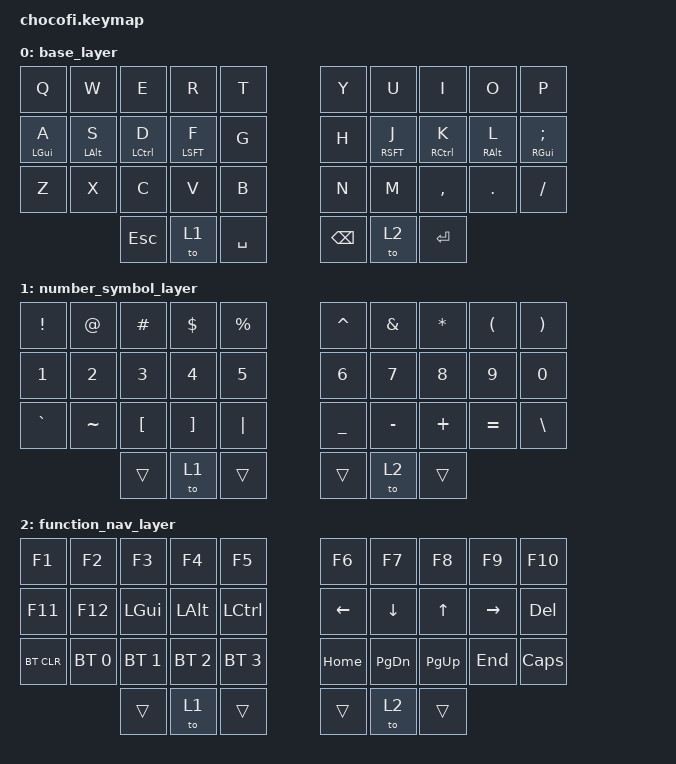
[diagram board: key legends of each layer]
/*
 * Copyright (c) 2025 Your Name
 * SPDX-License-Identifier: MIT
 *
 * Base keymap for Chocofi (3x5 + 3 thumb keys)
 * Layers:
 * - 0: QWERTY Base w/ Mac Home Row Mods
 * - 1: Numbers & Symbols
 * - 2: Function Keys & Navigation
 */

#include <behaviors.dtsi>
#include <dt-bindings/zmk/keys.h>
#include <dt-bindings/zmk/bt.h>        // Include Bluetooth keycodes
#include <dt-bindings/zmk/outputs.h>   // Include Output keycodes
#include <dt-bindings/zmk/modifiers.h> // Include modifiers like LCTL, LGUI (Cmd for Mac)

// Define tapping term for home row mods (milliseconds)
// This value is used if not overridden by the behavior definition itself
// or the global Kconfig setting. We'll use the behavior definition primarily.
#define TAPPING_TERM 200

/ {
    behaviors {
        // Define Home Row Mods Left Hand (Mac Order: Cmd, Opt, Ctrl, Shift)
        // Using 'tap-preferred' flavor and quick-tap-ms for better feel with home row mods.
        hm_l_a: hml_a { compatible = "zmk,behavior-hold-tap"; label = "HML_A"; #binding-cells = <2>; tapping-term-ms = <TAPPING_TERM>; flavor = "tap-preferred"; bindings = <&kp>, <&kp>; quick-tap-ms = <TAPPING_TERM>; };
        hm_l_s: hml_s { compatible = "zmk,behavior-hold-tap"; label = "HML_S"; #binding-cells = <2>; tapping-term-ms = <TAPPING_TERM>; flavor = "tap-preferred"; bindings = <&kp>, <&kp>; quick-tap-ms = <TAPPING_TERM>; };
        hm_l_d: hml_d { compatible = "zmk,behavior-hold-tap"; label = "HML_D"; #binding-cells = <2>; tapping-term-ms = <TAPPING_TERM>; flavor = "tap-preferred"; bindings = <&kp>, <&kp>; quick-tap-ms = <TAPPING_TERM>; };
        hm_l_f: hml_f { compatible = "zmk,behavior-hold-tap"; label = "HML_F"; #binding-cells = <2>; tapping-term-ms = <TAPPING_TERM>; flavor = "tap-preferred"; bindings = <&kp>, <&kp>; quick-tap-ms = <TAPPING_TERM>; };

        // Define Home Row Mods Right Hand (Mac Order: Shift, Ctrl, Opt, Cmd)
        hm_r_j: hmr_j { compatible = "zmk,behavior-hold-tap"; label = "HMR_J"; #binding-cells = <2>; tapping-term-ms = <TAPPING_TERM>; flavor = "tap-preferred"; bindings = <&kp>, <&kp>; quick-tap-ms = <TAPPING_TERM>; };
        hm_r_k: hmr_k { compatible = "zmk,behavior-hold-tap"; label = "HMR_K"; #binding-cells = <2>; tapping-term-ms = <TAPPING_TERM>; flavor = "tap-preferred"; bindings = <&kp>, <&kp>; quick-tap-ms = <TAPPING_TERM>; };
        hm_r_l: hmr_l { compatible = "zmk,behavior-hold-tap"; label = "HMR_L"; #binding-cells = <2>; tapping-term-ms = <TAPPING_TERM>; flavor = "tap-preferred"; bindings = <&kp>, <&kp>; quick-tap-ms = <TAPPING_TERM>; };
        hm_r_sc: hmr_sc { compatible = "zmk,behavior-hold-tap"; label = "HMR_SC"; #binding-cells = <2>; tapping-term-ms = <TAPPING_TERM>; flavor = "tap-preferred"; bindings = <&kp>, <&kp>; quick-tap-ms = <TAPPING_TERM>; }; // Semicolon key mod
    };

    keymap {
        compatible = "zmk,keymap";

        // Layer 0: Base QWERTY Layer
        // ----------------------------------------------------------------------------------------------------------------------
        // |  Q  |  W  |  E  |  R  |  T  |       |  Y  |  U  |  I  |  O  |  P  |
        // | A(Cmd)| S(Opt)| D(Ctl)| F(Sft)|  G  |       |  H  | J(Sft)| K(Ctl)| L(Opt)| ;(Cmd)|
        // |  Z  |  X  |  C  |  V  |  B  |       |  N  |  M  |  ,  |  .  |  /  |
        // ----------------------------------------------------------------------------------------------------------------------
        //             | ESC | L1 Tg | SPC |       | Bksp| L2 Tg | RET |
        //             -------------------------------------------------
        base_layer {
            // Matches the Chocofi 3x5+3 layout
            bindings = <
            /* Left Hand */                                           /* Right Hand */
            &kp Q          &kp W          &kp E             &kp R           &kp T           &kp Y          &kp U            &kp I          &kp O           &kp P
            &hm_l_a LGUI A &hm_l_s LALT S &hm_l_d LCTRL D   &hm_l_f LSFT F  &kp G           &kp H          &hm_r_j RSFT J &hm_r_k RCTRL K  &hm_r_l RALT L  &hm_r_sc RGUI SEMI
            &kp Z          &kp X          &kp C             &kp V           &kp B           &kp N          &kp M            &kp COMMA      &kp DOT         &kp SLASH
                                          /* Left Thumb */                                  /* Right Thumb */
                                          &kp ESC           &to 1           &kp SPACE       &kp BSPC       &to 2            &kp ENTER
            >;
        };

        // Layer 1: Numbers & Symbols Layer
        // ----------------------------------------------------------------------------------------------------------------------
        // |  !  |  @  |  #  |  $  |  %  |       |  ^  |  &  |  * |  (  |  )  |
        // |  1  |  2  |  3  |  4  |  5  |       |  6  |  7  |  8  |  9  |  0  |
        // |  `  |  ~  | [ | ] |  |  |       |  _  |  -  |  +  |  =  |  \  |
        // ----------------------------------------------------------------------------------------------------------------------
        //             | TRNS| L1 Tg | TRNS|       | TRNS| L2 Tg | TRNS|
        //             -------------------------------------------------
        number_symbol_layer {
            bindings = <
            /* Left Hand */                                           /* Right Hand */
            &kp EXCL       &kp AT         &kp HASH       &kp DLLR       &kp PRCNT         &kp CARET       &kp AMPS       &kp ASTRK      &kp LPAR      &kp RPAR
            &kp N1         &kp N2         &kp N3         &kp N4         &kp N5            &kp N6          &kp N7         &kp N8         &kp N9        &kp N0
            &kp GRAVE      &kp TILDE      &kp LBKT       &kp RBKT       &kp PIPE          &kp UNDERSCORE  &kp MINUS      &kp PLUS       &kp EQUAL     &kp BSLH
                                          /* Left Thumb */                                  /* Right Thumb */
                                          &trans         &to 1          &trans            &trans          &to 2          &trans
            >;
        };

        // Layer 2: Function & Navigation Layer
        // ----------------------------------------------------------------------------------------------------------------------
        // | F1  | F2  | F3  | F4  | F5  |       | F6  | F7  | F8  | F9  | F10 |
        // | F11 | F12 | GUI | ALT | CTRL|       |LEFT |DOWN | UP  |RIGHT| DEL |
        // | BT CLR| BT 0| BT 1| BT 2| BT 3|       |HOME |PGDN |PGUP | END | CAPS|
        // ----------------------------------------------------------------------------------------------------------------------
        //             | TRNS| L1 Tg | TRNS|       | TRNS| L2 Tg | TRNS|
        //             -------------------------------------------------
        function_nav_layer {
            bindings = <
            /* Left Hand */                                           /* Right Hand */
            &kp F1         &kp F2         &kp F3         &kp F4         &kp F5            &kp F6          &kp F7          &kp F8           &kp F9           &kp F10
            &kp F11        &kp F12        &kp LGUI       &kp LALT       &kp LCTRL         &kp LEFT        &kp DOWN        &kp UP           &kp RIGHT        &kp DEL
            &bt BT_CLR     &bt BT_SEL 0   &bt BT_SEL 1   &bt BT_SEL 2   &bt BT_SEL 3      &kp HOME        &kp PG_DN       &kp PG_UP        &kp END          &kp CAPS
                                          /* Left Thumb */                                  /* Right Thumb */
                                          &trans         &to 1          &trans            &trans          &to 2           &trans
            >;
        };

    }; // End keymap
}; // End root node
